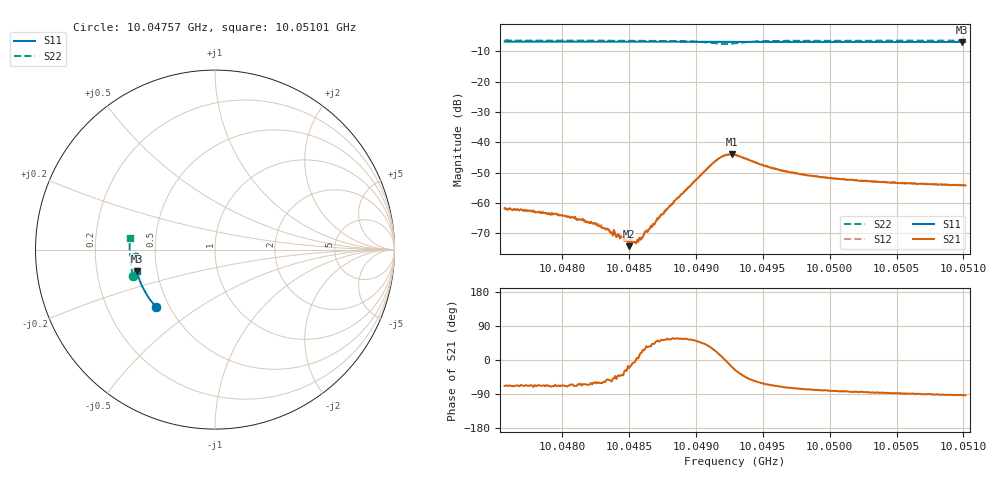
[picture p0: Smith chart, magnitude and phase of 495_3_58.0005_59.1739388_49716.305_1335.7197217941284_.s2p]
#  HZ  S  RI  R  50.00
! Rohde & Schwarz Vector Network Analyzer
! Rohde-Schwarz,ZNB20-2Port,1311601062101988,3.16
! Created: UTC 3/21/2024, 1:12:27 AM
! freq[Hz]  re:S11  im:S11  re:S21  im:S21  re:S12  im:S12  re:S22  im:S22
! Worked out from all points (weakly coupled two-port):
!   401 points, 10.04757 GHz to 10.05101 GHz, reference 50 ohm
!   highest |S21| = -44.05 dB at 10.04927 GHz (marker M1); lowest = -74.3 dB at 10.0485 GHz (marker M2)
!   lowest |S11| = -6.9 dB at 10.05099 GHz (marker M3), VSWR 2.65, Z = 19.2 - j5.86 ohm
!   |S11| at or under -10 dB: nowhere
!   |S22| runs from -7.6 to -6.4 dB; largest |S21 - S12| = 0.00043
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1.0047569e10  -0.3304 -0.3173  0.000301 -0.000757  0.000357 -0.000744  -0.4561 -0.1459
1.0047914e10  -0.3452 -0.2999  0.00022 -0.000594  0.000276 -0.000601  -0.4619 -0.1227
1.0048146e10  -0.3548 -0.2881  0.0002 -0.00048  0.000271 -0.000453  -0.4652 -0.1064
1.0048276e10  -0.3599 -0.2812  0.000209 -0.000352  0.000234 -0.00036  -0.4669 -0.0972
1.004837e10  -0.3636 -0.2762  0.000178 -0.000272  0.000214 -0.000243  -0.4678 -0.09
1.0048413e10  -0.3651 -0.2738  0.000211 -0.000192  0.000228 -0.00018  -0.468 -0.0868
1.0048439e10  -0.3663 -0.2723  0.00021 -0.000176  0.000212 -0.000178  -0.4682 -0.0847
1.0048482e10  -0.3678 -0.27  0.000206 -0.000112  0.000245 -9.04e-05  -0.4685 -0.0813
1.00485e10  -0.3684 -0.2691  0.000179 -6.98e-05  0.000231 -8.27e-05  -0.4686 -0.0801
1.0048551e10  -0.3705 -0.2663  0.000214 -7.49e-07  0.000245 3.97e-05  -0.469 -0.0757
1.0048586e10  -0.3716 -0.2644  0.000237 7.85e-05  0.000228 8.25e-05  -0.469 -0.0729
1.0048724e10  -0.3765 -0.2567  0.000373 0.000422  0.000328 0.000453  -0.4686 -0.0607
1.0048861e10  -0.3813 -0.2491  0.000635 0.001  0.000603 0.00103  -0.466 -0.0468
1.0049137e10  -0.3902 -0.2333  0.00422 0.00209  0.00409 0.00236  -0.4315 -0.0235
1.0049206e10  -0.3922 -0.2295  0.00593 0.000451  0.0059 0.000804  -0.4177 -0.0373
1.0049266e10  -0.394 -0.2262  0.00599 -0.00188  0.00612 -0.00149  -0.4203 -0.0555
1.0049292e10  -0.3949 -0.2248  0.00552 -0.00267  0.00575 -0.00232  -0.4258 -0.061
1.0049585e10  -0.404 -0.2079  0.00142 -0.00342  0.00161 -0.00333  -0.4677 -0.0433
1.0049869e10  -0.4118 -0.1909  0.000575 -0.00272  0.00073 -0.00271  -0.4743 -0.017
1.0050446e10  -0.4255 -0.1558  0.000131 -0.00217  0.000224 -0.00214  -0.4753 0.0266
1.0050989e10  -0.4355 -0.1216  -7.54e-05 -0.00194  3.61e-05 -0.00194  -0.4719 0.0639
1.0051015e10  -0.436 -0.1199  -0.0001 -0.00192  3.26e-06 -0.00193  -0.4715 0.0656
